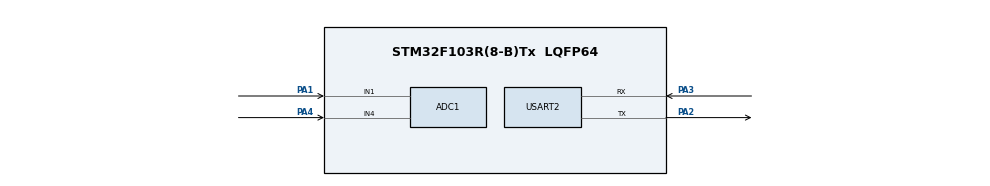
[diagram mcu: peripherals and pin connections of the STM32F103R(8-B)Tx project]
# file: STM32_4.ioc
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ADC1.Channel-4\#ChannelRegularConversion=ADC_CHANNEL_4
ADC1.Channel-5\#ChannelRegularConversion=ADC_CHANNEL_1
ADC1.ContinuousConvMode=ENABLE
ADC1.NbrOfConversion=2
ADC1.NbrOfConversionFlag=1
ADC1.Rank-4\#ChannelRegularConversion=1
ADC1.Rank-5\#ChannelRegularConversion=2
ADC1.SamplingTime-4\#ChannelRegularConversion=ADC_SAMPLETIME_239CYCLES_5
ADC1.SamplingTime-5\#ChannelRegularConversion=ADC_SAMPLETIME_239CYCLES_5
ADC1.master=1
Dma.ADC1.0.Direction=DMA_PERIPH_TO_MEMORY
Dma.ADC1.0.Instance=DMA1_Channel1
Dma.ADC1.0.MemDataAlignment=DMA_MDATAALIGN_WORD
Dma.ADC1.0.MemInc=DMA_MINC_ENABLE
Dma.ADC1.0.Mode=DMA_CIRCULAR
Dma.ADC1.0.PeriphDataAlignment=DMA_PDATAALIGN_WORD
Dma.ADC1.0.PeriphInc=DMA_PINC_DISABLE
Dma.ADC1.0.Priority=DMA_PRIORITY_LOW
Dma.Request0=ADC1
Mcu.Family=STM32F1
Mcu.Name=STM32F103R(8-B)Tx
Mcu.Package=LQFP64
NVIC.DMA1_Channel1_IRQn=true\:0\:0\:false\:false\:true\:false\:true\:true
NVIC.PriorityGroup=NVIC_PRIORITYGROUP_4
NVIC.USART2_IRQn=true\:0\:0\:false\:false\:true\:true\:true\:true
PA1.Signal=ADCx_IN1
PA2.Mode=Asynchronous
PA2.Signal=USART2_TX
PA3.Mode=Asynchronous
PA3.Signal=USART2_RX
PA4.Signal=ADCx_IN4
ProjectManager.HeapSize=0x200
ProjectManager.StackSize=0x400
ProjectManager.TargetToolchain=MDK-ARM V5.27
RCC.APB1Freq_Value=8000000
RCC.APB2Freq_Value=8000000
SH.ADCx_IN1.0=ADC1_IN1,IN1
SH.ADCx_IN4.0=ADC1_IN4,IN4
USART2.VirtualMode=VM_ASYNC
VP_SYS_VS_ND.Mode=No_Debug
board=custom

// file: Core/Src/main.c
/* USER CODE BEGIN Header */
/**
  ******************************************************************************
  * @file           : main.c
  * @brief          : Main program body
  ******************************************************************************
  * @attention
  *
  * <h2><center>&copy; Copyright (c) 2022 STMicroelectronics.
  * All rights reserved.</center></h2>
  *
  * This software component is licensed by ST under BSD 3-Clause license,
  * the "License"; You may not use this file except in compliance with the
  * License. You may obtain a copy of the License at:
  *                        opensource.org/licenses/BSD-3-Clause
  *
  ******************************************************************************
  */
/* USER CODE END Header */
#include "main.h"

/* USER CODE BEGIN Includes */
#include <stdio.h>
#include <string.h>
/* USER CODE END Includes */

ADC_HandleTypeDef hadc1;
DMA_HandleTypeDef hdma_adc1;

UART_HandleTypeDef huart2;

/* USER CODE BEGIN PV */
uint32_t buffer[2];
const uint8_t line_size = 12;
/* USER CODE END PV */

void SystemClock_Config(void);
static void MX_GPIO_Init(void);
static void MX_DMA_Init(void);
static void MX_ADC1_Init(void);
static void MX_USART2_UART_Init(void);

/* USER CODE BEGIN 0 */
void print_line_usart(char* line)
{
	HAL_UART_Transmit(&huart2, (uint8_t*) line, strlen(line), HAL_MAX_DELAY);
}

uint8_t paramater_spaces(double light)
{
	if (light < 10)
	{
		return 3;
	}
	else if (light < 100)
	{
		return 2;
	}
	else if (light < 1000)
	{
		return 1;
	}
	else
	{
		return 0;
	}
}

char* spaces(double temperature, uint32_t light)
{
	uint8_t spaces = paramater_spaces(temperature) + paramater_spaces(light) + 1;

	if (spaces == 1) return " ";
	else if (spaces == 2) return "  ";
	else if (spaces == 3) return "   ";
	else if (spaces == 4) return "    ";
	else if (spaces == 5) return "     ";
	else if (spaces == 6) return "      ";
	else return "       ";
}
/* USER CODE END 0 */

int main(void)
{

  /* MCU Configuration--------------------------------------------------------*/

  /* Reset of all peripherals, Initializes the Flash interface and the Systick. */
  HAL_Init();

  /* Configure the system clock */
  SystemClock_Config();

  /* Initialize all configured peripherals */
  MX_GPIO_Init();
  MX_DMA_Init();
  MX_ADC1_Init();
  MX_USART2_UART_Init();
  /* USER CODE BEGIN 2 */
	HAL_ADC_Start_DMA(&hadc1, buffer, 2);
  /* USER CODE END 2 */

  /* Infinite loop */
  while (1)
  {

    /* USER CODE BEGIN 3 */
		char line[line_size];
		double temperature = buffer[0] / 11.5;
		uint32_t light = buffer[1];
		snprintf(line, line_size, "%.1f%s%d", temperature, spaces(temperature, light), light);
		print_line_usart(line);
		HAL_Delay(2000);
  }
  /* USER CODE END 3 */
}

void SystemClock_Config(void)
{
  RCC_OscInitTypeDef RCC_OscInitStruct = {0};
  RCC_ClkInitTypeDef RCC_ClkInitStruct = {0};
  RCC_PeriphCLKInitTypeDef PeriphClkInit = {0};

  /** Initializes the RCC Oscillators according to the specified parameters
  * in the RCC_OscInitTypeDef structure.
  */
  RCC_OscInitStruct.OscillatorType = RCC_OSCILLATORTYPE_HSI;
  RCC_OscInitStruct.HSIState = RCC_HSI_ON;
  RCC_OscInitStruct.HSICalibrationValue = RCC_HSICALIBRATION_DEFAULT;
  RCC_OscInitStruct.PLL.PLLState = RCC_PLL_NONE;
  if (HAL_RCC_OscConfig(&RCC_OscInitStruct) != HAL_OK)
  {
    Error_Handler();
  }
  /** Initializes the CPU, AHB and APB buses clocks
  */
  RCC_ClkInitStruct.ClockType = RCC_CLOCKTYPE_HCLK|RCC_CLOCKTYPE_SYSCLK
                              |RCC_CLOCKTYPE_PCLK1|RCC_CLOCKTYPE_PCLK2;
  RCC_ClkInitStruct.SYSCLKSource = RCC_SYSCLKSOURCE_HSI;
  RCC_ClkInitStruct.AHBCLKDivider = RCC_SYSCLK_DIV1;
  RCC_ClkInitStruct.APB1CLKDivider = RCC_HCLK_DIV1;
  RCC_ClkInitStruct.APB2CLKDivider = RCC_HCLK_DIV1;

  if (HAL_RCC_ClockConfig(&RCC_ClkInitStruct, FLASH_LATENCY_0) != HAL_OK)
  {
    Error_Handler();
  }
  PeriphClkInit.PeriphClockSelection = RCC_PERIPHCLK_ADC;
  PeriphClkInit.AdcClockSelection = RCC_ADCPCLK2_DIV2;
  if (HAL_RCCEx_PeriphCLKConfig(&PeriphClkInit) != HAL_OK)
  {
    Error_Handler();
  }
}

static void MX_ADC1_Init(void)
{

  ADC_ChannelConfTypeDef sConfig = {0};

  /** Common config
  */
  hadc1.Instance = ADC1;
  hadc1.Init.ScanConvMode = ADC_SCAN_ENABLE;
  hadc1.Init.ContinuousConvMode = ENABLE;
  hadc1.Init.DiscontinuousConvMode = DISABLE;
  hadc1.Init.ExternalTrigConv = ADC_SOFTWARE_START;
  hadc1.Init.DataAlign = ADC_DATAALIGN_RIGHT;
  hadc1.Init.NbrOfConversion = 2;
  if (HAL_ADC_Init(&hadc1) != HAL_OK)
  {
    Error_Handler();
  }
  /** Configure Regular Channel
  */
  sConfig.Channel = ADC_CHANNEL_4;
  sConfig.Rank = ADC_REGULAR_RANK_1;
  sConfig.SamplingTime = ADC_SAMPLETIME_239CYCLES_5;
  if (HAL_ADC_ConfigChannel(&hadc1, &sConfig) != HAL_OK)
  {
    Error_Handler();
  }
  /** Configure Regular Channel
  */
  sConfig.Channel = ADC_CHANNEL_1;
  sConfig.Rank = ADC_REGULAR_RANK_2;
  if (HAL_ADC_ConfigChannel(&hadc1, &sConfig) != HAL_OK)
  {
    Error_Handler();
  }

}

static void MX_USART2_UART_Init(void)
{

  huart2.Instance = USART2;
  huart2.Init.BaudRate = 115200;
  huart2.Init.WordLength = UART_WORDLENGTH_8B;
  huart2.Init.StopBits = UART_STOPBITS_1;
  huart2.Init.Parity = UART_PARITY_NONE;
  huart2.Init.Mode = UART_MODE_TX_RX;
  huart2.Init.HwFlowCtl = UART_HWCONTROL_NONE;
  huart2.Init.OverSampling = UART_OVERSAMPLING_16;
  if (HAL_UART_Init(&huart2) != HAL_OK)
  {
    Error_Handler();
  }

}

static void MX_DMA_Init(void)
{

  /* DMA controller clock enable */
  __HAL_RCC_DMA1_CLK_ENABLE();

  /* DMA interrupt init */
  /* DMA1_Channel1_IRQn interrupt configuration */
  HAL_NVIC_SetPriority(DMA1_Channel1_IRQn, 0, 0);
  HAL_NVIC_EnableIRQ(DMA1_Channel1_IRQn);

}

static void MX_GPIO_Init(void)
{

  /* GPIO Ports Clock Enable */
  __HAL_RCC_GPIOA_CLK_ENABLE();

}

void Error_Handler(void)
{
  __disable_irq();
  while (1)
  {
  }
}

/************************ (C) COPYRIGHT STMicroelectronics *****END OF FILE****/
